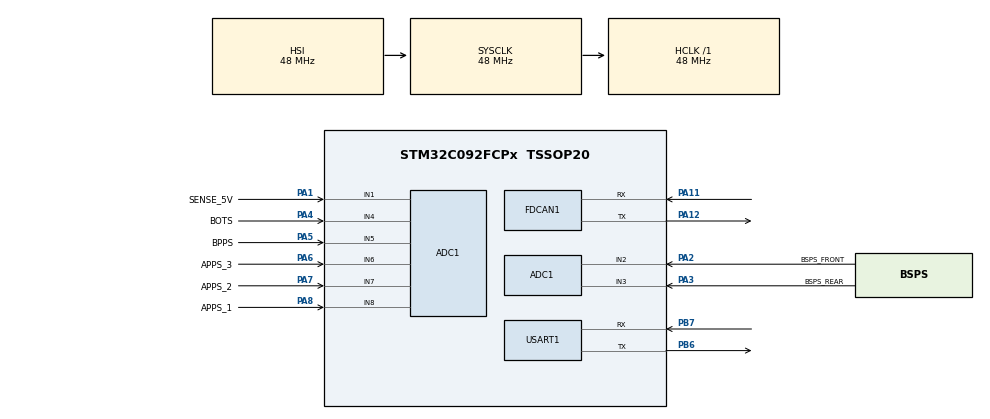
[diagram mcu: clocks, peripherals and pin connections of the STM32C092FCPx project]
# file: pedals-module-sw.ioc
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ADC1.Channel-2\#ChannelRegularConversion=ADC_CHANNEL_1
ADC1.Channel-3\#ChannelRegularConversion=ADC_CHANNEL_2
ADC1.Channel-4\#ChannelRegularConversion=ADC_CHANNEL_3
ADC1.Channel-5\#ChannelRegularConversion=ADC_CHANNEL_4
ADC1.Channel-6\#ChannelRegularConversion=ADC_CHANNEL_5
ADC1.Channel-7\#ChannelRegularConversion=ADC_CHANNEL_6
ADC1.Channel-8\#ChannelRegularConversion=ADC_CHANNEL_7
ADC1.Channel-9\#ChannelRegularConversion=ADC_CHANNEL_8
ADC1.ContinuousConvMode=DISABLE
ADC1.DMAContinuousRequests=ENABLE
ADC1.ExternalTrigConv=ADC_EXTERNALTRIG_T3_TRGO
ADC1.NbrOfConversion=8
ADC1.NbrOfConversionFlag=1
ADC1.OffsetNumber-2\#ChannelRegularConversion=ADC_OFFSET_NONE
ADC1.OffsetNumber-3\#ChannelRegularConversion=ADC_OFFSET_NONE
ADC1.OffsetNumber-4\#ChannelRegularConversion=ADC_OFFSET_NONE
ADC1.OffsetNumber-5\#ChannelRegularConversion=ADC_OFFSET_NONE
ADC1.OffsetNumber-6\#ChannelRegularConversion=ADC_OFFSET_NONE
ADC1.OffsetNumber-7\#ChannelRegularConversion=ADC_OFFSET_NONE
ADC1.OffsetNumber-8\#ChannelRegularConversion=ADC_OFFSET_NONE
ADC1.OffsetNumber-9\#ChannelRegularConversion=ADC_OFFSET_NONE
ADC1.Rank-2\#ChannelRegularConversion=1
ADC1.Rank-3\#ChannelRegularConversion=2
ADC1.Rank-4\#ChannelRegularConversion=3
ADC1.Rank-5\#ChannelRegularConversion=4
ADC1.Rank-6\#ChannelRegularConversion=5
ADC1.Rank-7\#ChannelRegularConversion=6
ADC1.Rank-8\#ChannelRegularConversion=7
ADC1.Rank-9\#ChannelRegularConversion=8
ADC1.SamplingTime-2\#ChannelRegularConversion=ADC_SAMPLINGTIME_COMMON_1
ADC1.SamplingTime-3\#ChannelRegularConversion=ADC_SAMPLINGTIME_COMMON_1
ADC1.SamplingTime-4\#ChannelRegularConversion=ADC_SAMPLINGTIME_COMMON_1
ADC1.SamplingTime-5\#ChannelRegularConversion=ADC_SAMPLINGTIME_COMMON_1
ADC1.SamplingTime-6\#ChannelRegularConversion=ADC_SAMPLINGTIME_COMMON_1
ADC1.SamplingTime-7\#ChannelRegularConversion=ADC_SAMPLINGTIME_COMMON_1
ADC1.SamplingTime-8\#ChannelRegularConversion=ADC_SAMPLINGTIME_COMMON_1
ADC1.SamplingTime-9\#ChannelRegularConversion=ADC_SAMPLINGTIME_COMMON_1
ADC1.SamplingTimeCommon1=ADC_SAMPLETIME_12CYCLES_5
ADC1.SamplingTimeCommon2=ADC_SAMPLETIME_12CYCLES_5
ADC1.SelectedChannel=ADC_CHANNEL_1|ADC_CHANNEL_2|ADC_CHANNEL_3|ADC_CHANNEL_4|ADC_CHANNEL_5|ADC_CHANNEL_6|ADC_CHANNEL_7|ADC_CHANNEL_8
ADC1.Sequencer=FULLY_CONFIGURABLE
ADC1.master=1
Dma.ADC1.0.Direction=DMA_PERIPH_TO_MEMORY
Dma.ADC1.0.EventEnable=DISABLE
Dma.ADC1.0.Instance=DMA1_Channel1
Dma.ADC1.0.MemDataAlignment=DMA_MDATAALIGN_HALFWORD
Dma.ADC1.0.MemInc=DMA_MINC_ENABLE
Dma.ADC1.0.Mode=DMA_CIRCULAR
Dma.ADC1.0.PeriphDataAlignment=DMA_PDATAALIGN_HALFWORD
Dma.ADC1.0.PeriphInc=DMA_PINC_DISABLE
Dma.ADC1.0.Polarity=HAL_DMAMUX_REQ_GEN_RISING
Dma.ADC1.0.Priority=DMA_PRIORITY_LOW
Dma.ADC1.0.RequestNumber=1
Dma.ADC1.0.SignalID=NONE
Dma.ADC1.0.SyncEnable=DISABLE
Dma.ADC1.0.SyncPolarity=HAL_DMAMUX_SYNC_NO_EVENT
Dma.ADC1.0.SyncRequestNumber=1
Dma.ADC1.0.SyncSignalID=NONE
Dma.Request0=ADC1
FDCAN1.CalculateBaudRateNominal=1000000
FDCAN1.CalculateTimeBitNominal=1000
FDCAN1.CalculateTimeQuantumNominal=62.5
FDCAN1.DataPrescaler=1
FDCAN1.NominalPrescaler=3
FDCAN1.NominalSyncJumpWidth=2
FDCAN1.NominalTimeSeg1=13
FDCAN1.NominalTimeSeg2=2
Mcu.Family=STM32C0
Mcu.Name=STM32C092FCPx
Mcu.Package=TSSOP20
NVIC.DMA1_Channel1_IRQn=true\:0\:0\:false\:false\:true\:false\:true\:true
NVIC.FDCAN1_IT0_IRQn=true\:0\:0\:false\:false\:true\:true\:true\:true
NVIC.FDCAN1_IT1_IRQn=true\:0\:0\:false\:false\:true\:true\:true\:true
NVIC.TIM1_BRK_UP_TRG_COM_IRQn=true\:0\:0\:false\:false\:true\:true\:true\:true
NVIC.TIM3_IRQn=true\:0\:0\:false\:false\:true\:true\:true\:true
NVIC.USART1_IRQn=true\:0\:0\:false\:false\:true\:true\:true\:true
PA1.GPIO_Label=SENSE_5V
PA1.Mode=IN1
PA1.Signal=ADC1_IN1
PA11\ [PA9].Mode=FDCAN_Activate
PA11\ [PA9].Signal=FDCAN1_RX
PA12\ [PA10].Mode=FDCAN_Activate
PA12\ [PA10].Signal=FDCAN1_TX
PA13.Mode=Serial_Wire
PA13.Signal=DEBUG_SWDIO
PA14-BOOT0.Mode=Serial_Wire
PA14-BOOT0.Signal=DEBUG_SWCLK
PA14-BOOT0__PA15.StandardMode=true
PA2.GPIO_Label=BSPS_FRONT
PA2.Mode=IN2
PA2.Signal=ADC1_IN2
PA3.GPIO_Label=BSPS_REAR
PA3.Mode=IN3
PA3.Signal=ADC1_IN3
PA4.GPIO_Label=BOTS
PA4.Mode=IN4
PA4.Signal=ADC1_IN4
PA5.GPIO_Label=BPPS
PA5.Mode=IN5
PA5.Signal=ADC1_IN5
PA6.GPIO_Label=APPS_3
PA6.Mode=IN6
PA6.Signal=ADC1_IN6
PA7.GPIO_Label=APPS_2
PA7.Mode=IN7
PA7.Signal=ADC1_IN7
PA8.GPIO_Label=APPS_1
PA8.Mode=IN8
PA8.Signal=ADC1_IN8
PB0__PB1__PB2__PA8.StandardMode=true
PB3__PB4__PB5__PB6.StandardMode=true
PB6.Mode=Asynchronous
PB6.Signal=USART1_TX
PB7.Mode=Asynchronous
PB7.Signal=USART1_RX
PB7__PB8.StandardMode=true
PC14-OSCX_IN(PC14).Mode=HSE-External-Oscillator
PC14-OSCX_IN(PC14).Signal=RCC_OSCX_IN
PC15-OSCX_OUT(PC15).Mode=HSE-External-Oscillator
PC15-OSCX_OUT(PC15).Signal=RCC_OSCX_OUT
ProjectManager.HeapSize=0x200
ProjectManager.StackSize=0x400
ProjectManager.TargetToolchain=Makefile
RCC.ADCFreq_Value=48000000
RCC.AHBFreq_Value=48000000
RCC.CortexFreq_Value=48000000
RCC.EXTERNAL_CLOCK_VALUE=12288000
RCC.HCLKFreq_Value=48000000
RCC.HSE_VALUE=16000000
RCC.HSISYSCLKDivider=RCC_HSI_DIV1
RCC.HSI_VALUE=48000000
RCC.LSE_VALUE=32768
RCC.SYSCLKFreq_VALUE=48000000
TIM1.Period=999
TIM1.Prescaler=4799
TIM3.Period=999
TIM3.Prescaler=47
TIM3.TIM_MasterOutputTrigger=TIM_TRGO_UPDATE
USART1.VirtualMode-Asynchronous=VM_ASYNC
VP_TIM1_VS_ClockSourceINT.Mode=Internal
VP_TIM3_VS_ClockSourceINT.Mode=Internal
board=custom

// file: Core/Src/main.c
/* USER CODE BEGIN Header */
/**
 ******************************************************************************
 * @file           : main.c
 * @brief          : Main program body
 ******************************************************************************
 * @attention
 *
 * Copyright (c) 2026 STMicroelectronics.
 * All rights reserved.
 *
 * This software is licensed under terms that can be found in the LICENSE file
 * in the root directory of this software component.
 * If no LICENSE file comes with this software, it is provided AS-IS.
 *
 ******************************************************************************
 */
/* USER CODE END Header */
#include "main.h"
#include "adc.h"
#include "dma.h"
#include "fdcan.h"
#include "tim.h"
#include "usart.h"
#include "gpio.h"

/* USER CODE BEGIN Includes */

#include "can-communications-router-api.h"
#include "fsm.h"
#include "post.h"
#include "eagletrt-api.h"
#include "logger-api.h"
#include "scheduler-api.h"
#include "arena-allocator-api.h"

/* USER CODE END Includes */

/* USER CODE BEGIN PD */
//TODO: Would be better to move the defines into a configuration file (e.g. ecu-config.h)
#define LOGGER_ENABLED (true)           /*!< Logger status: true to enable active logging, false to mute entirely. */
#define LOGGER_RX_CAPACITY (1U)         /*!< Receive queue depth. Set to 1 because the logger is transmit-only but needs to be > 0 because of arena allocator. */
#define LOGGER_TX_CAPACITY (10U)        /*!< Maximum number of log message packets allowed to sit in the outbound transmission queue. */
#define LOGGER_UART_MAX_MSG_SIZE (128U) /*!< Maximum allocation allowed for an individual log string. */
/* USER CODE END PD */

/* USER CODE BEGIN PV */

EAGLETRT_STATIC struct ArenaAllocatorHandler arena_allocator_handler;
EAGLETRT_STATIC struct PalHandler logger_pal_handler;

/* USER CODE END PV */

void SystemClock_Config(void);
/* USER CODE BEGIN PFP */
/*static void serial_write(const char *str) {
    HAL_UART_Transmit(&huart1, (const uint8_t *)str, (uint16_t)strlen(str), HAL_MAX_DELAY);
}*/

// bootloader code
static void VectorBase_Config(void) {
    /* The constant array with vectors of the vector table is declared externally in the
   * c-startup code.
   */
    extern const unsigned long g_pfnVectors[];

    /* Remap the vector table to where the vector table is located for this program. */
    SCB->VTOR = (unsigned long)&g_pfnVectors[0];
}

/*!
 * \brief Initializes the low-level memory allocation and logging framework.
 */
EAGLETRT_STATIC void prv_main_init_logging_configuration() {
    arena_allocator_api_init(&arena_allocator_handler);

    EAGLETRT_API_UNUSED(pal_api_init(&logger_pal_handler,
                                     LOGGER_RX_CAPACITY,
                                     LOGGER_TX_CAPACITY,
                                     LOGGER_UART_MAX_MSG_SIZE,
                                     NULL,
                                     usart_logger_transmit,
                                     NULL,
                                     NULL,
                                     &arena_allocator_handler));
}

/* USER CODE END PFP */

int main(void) {

    /* USER CODE BEGIN 1 */
    VectorBase_Config(); // bootloader code
    /* USER CODE END 1 */

    /* MCU Configuration--------------------------------------------------------*/

    /* Reset of all peripherals, Initializes the Flash interface and the Systick. */
    HAL_Init();

    /* Configure the system clock */
    SystemClock_Config();

    /* Initialize all configured peripherals */
    MX_GPIO_Init();
    MX_DMA_Init();
    MX_USART1_UART_Init();
    MX_FDCAN1_Init();
    MX_ADC1_Init();
    MX_TIM3_Init();
    MX_TIM1_Init();
    /* USER CODE BEGIN 2 */

    prv_main_init_logging_configuration();
    EAGLETRT_API_UNUSED(logger_api_init(&logger_pal_handler, LOGGER_ENABLED));

    adc_init();
    HAL_FDCAN_Start(&hfdcan1);

    state_t state = STATE_INIT;

    struct PostInit init_struct = {
        .start_timer = tim_start_timer_throttle,
        .stop_timer = tim_stop_timer_throttle,
        .config = {
            .send = fdcan_send_primary,
            .on_receive = can_communications_router_api_receive_primary,
            .cs_enter = __disable_irq,
            .cs_exit = __enable_irq },
        .get_tick = HAL_GetTick,
        .reboot = HAL_NVIC_SystemReset
    };

    state = run_state(state, &init_struct);

    HAL_TIM_Base_Start_IT(&htim3);

    HAL_FDCAN_ActivateNotification(&hfdcan1, FDCAN_IT_RX_FIFO0_NEW_MESSAGE, 0);
    HAL_FDCAN_ActivateNotification(&hfdcan1, FDCAN_IT_RX_FIFO1_NEW_MESSAGE, 0);

    struct FsmData data = {
        .get_tick = HAL_GetTick,
        .update_module = adc_update_modules,
        .system_reset = HAL_NVIC_SystemReset,
    };

    /* USER CODE END 2 */

    /* Infinite loop */
    /* USER CODE BEGIN WHILE */
    while (1) {
        state = run_state(state, &data);
        /* USER CODE END WHILE */

    }
}

void SystemClock_Config(void) {
    RCC_OscInitTypeDef RCC_OscInitStruct = { 0 };
    RCC_ClkInitTypeDef RCC_ClkInitStruct = { 0 };

    __HAL_FLASH_SET_LATENCY(FLASH_LATENCY_1);

    /** Initializes the RCC Oscillators according to the specified parameters
  * in the RCC_OscInitTypeDef structure.
  */
    RCC_OscInitStruct.OscillatorType = RCC_OSCILLATORTYPE_HSI;
    RCC_OscInitStruct.HSIState = RCC_HSI_ON;
    RCC_OscInitStruct.HSIDiv = RCC_HSI_DIV1;
    RCC_OscInitStruct.HSICalibrationValue = RCC_HSICALIBRATION_DEFAULT;
    if (HAL_RCC_OscConfig(&RCC_OscInitStruct) != HAL_OK) {
        Error_Handler();
    }

    /** Initializes the CPU, AHB and APB buses clocks
  */
    RCC_ClkInitStruct.ClockType = RCC_CLOCKTYPE_HCLK | RCC_CLOCKTYPE_SYSCLK | RCC_CLOCKTYPE_PCLK1;
    RCC_ClkInitStruct.SYSCLKSource = RCC_SYSCLKSOURCE_HSI;
    RCC_ClkInitStruct.SYSCLKDivider = RCC_SYSCLK_DIV1;
    RCC_ClkInitStruct.AHBCLKDivider = RCC_HCLK_DIV1;
    RCC_ClkInitStruct.APB1CLKDivider = RCC_APB1_DIV1;

    if (HAL_RCC_ClockConfig(&RCC_ClkInitStruct, FLASH_LATENCY_1) != HAL_OK) {
        Error_Handler();
    }
}

void Error_Handler(void) {
    __disable_irq();
    while (1) {
    }
}
#ifdef USE_FULL_ASSERT
/**
  * @brief  Reports the name of the source file and the source line number
  *         where the assert_param error has occurred.
  * @param  file: pointer to the source file name
  * @param  line: assert_param error line source number
  * @retval None
  */
void assert_failed(uint8_t *file, uint32_t line) {
    /* USER CODE BEGIN 6 */
    /* User can add his own implementation to report the file name and line
     number, ex: printf("Wrong parameters value: file %s on line %d\r\n", file,
     line) */
    /* USER CODE END 6 */
}
#endif /* USE_FULL_ASSERT */
